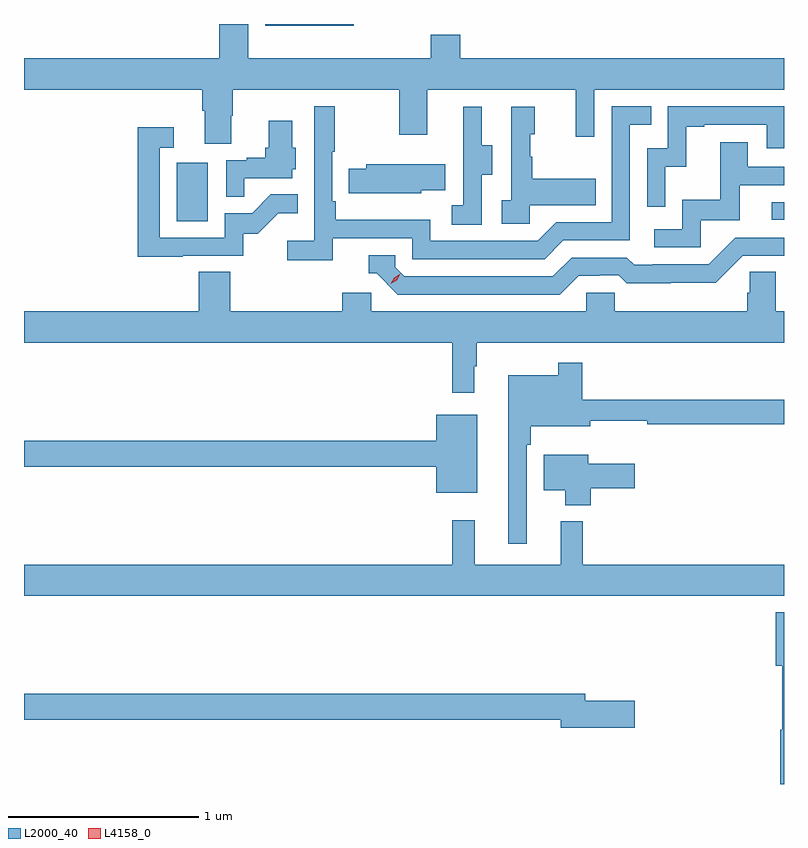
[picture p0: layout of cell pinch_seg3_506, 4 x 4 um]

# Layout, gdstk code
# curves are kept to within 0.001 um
import gdstk
lib = gdstk.Library(unit=1e-6, precision=1e-09)
def R(c, l, rs):  # rectangles x0, y0, x1, y1
    for r in rs: c.add(gdstk.rectangle(r[:2], r[2:], *l))
def P(c, l, *ps):  # polygons
    for p in ps: c.add(gdstk.Polygon(p, *l))
L2000_40 = (2000, 40)
L4158_0 = (4158, 0)

pinch_seg3_506 = lib.new_cell('pinch_seg3_506')
R(pinch_seg3_506, L2000_40, [(972.734,680.244,972.898,680.551), (975.867,680.25,975.931,680.343), (973.202,681.272,973.666,681.281)])
P(pinch_seg3_506, L2000_40, [(973.021,680.799),(973.029,680.799),(973.029,680.936),(973.906,680.936),(973.906,680.697),(974.053,680.697),(974.053,680.936),(974.834,680.936),(974.834,680.688),(974.931,680.688),(974.931,680.936),(975.931,680.936),(975.931,681.1),(974.228,681.1),(974.228,681.224),(974.071,681.224),(974.071,681.1),(973.111,681.1),(973.111,681.281),(972.959,681.281),(972.959,681.1),(971.931,681.1),(971.931,680.936),(972.869,680.936),(972.869,680.824),(972.881,680.824),(972.881,680.65),(973.021,680.65)],
  [(973.556,680.154),(973.974,680.154),(973.974,680.043),(974.671,680.043),(974.77,680.142),(975.12,680.142),(975.12,680.751),(975.233,680.751),(975.233,680.847),(975.024,680.847),(975.024,680.238),(974.733,680.238),(974.634,680.139),(974.07,680.139),(974.07,680.251),(973.571,680.251),(973.571,680.347),(973.554,680.347),(973.554,680.608),(973.567,680.608),(973.567,680.848),(973.458,680.848),(973.458,680.14),(973.317,680.14),(973.317,680.038),(973.556,680.038)],
  [(975.306,680.531),(975.416,680.531),(975.416,680.739),(975.511,680.739),(975.511,680.751),(975.84,680.751),(975.84,680.628),(975.931,680.628),(975.931,680.847),(975.318,680.847),(975.318,680.628),(975.21,680.628),(975.21,680.319),(975.306,680.319)],
  [(974.592,680.327),(974.939,680.327),(974.939,680.467),(974.605,680.467),(974.605,680.582),(974.595,680.582),(974.595,680.7),(974.62,680.7),(974.62,680.845),(974.496,680.845),(974.496,680.354),(974.445,680.354),(974.445,680.229),(974.592,680.229)],
  [(974.34,680.488),(974.395,680.488),(974.395,680.643),(974.341,680.643),(974.341,680.845),(974.243,680.845),(974.243,680.631),(974.244,680.631),(974.244,680.327),(974.181,680.327),(974.181,680.224),(974.34,680.224)],
  [(973.091,680.469),(973.342,680.469),(973.342,680.517),(973.36,680.517),(973.36,680.631),(973.342,680.631),(973.342,680.773),(973.22,680.773),(973.22,680.631),(973.202,680.631),(973.202,680.578),(973.103,680.578),(973.103,680.565),(972.996,680.565),(972.996,680.371),(973.091,680.371)],
  [(972.767,680.061),(973.086,680.061),(973.086,680.178),(973.162,680.178),(973.269,680.285),(973.373,680.285),(973.373,680.384),(973.229,680.384),(973.131,680.286),(972.987,680.286),(972.987,680.157),(972.645,680.157),(972.645,680.631),(972.718,680.631),(972.718,680.737),(972.529,680.737),(972.529,680.056),(972.767,680.056)],
  [(975.492,680.247),(975.697,680.247),(975.697,680.433),(975.931,680.433),(975.931,680.529),(975.739,680.529),(975.739,680.659),(975.595,680.659),(975.595,680.356),(975.396,680.356),(975.396,680.202),(975.249,680.202),(975.249,680.106),(975.492,680.106)],
  [(974.022,680.405),(974.147,680.405),(974.147,680.542),(973.733,680.542),(973.733,680.52),(973.639,680.52),(973.639,680.391),(973.75,680.391),(973.75,680.39),(974.022,680.39)],
  [(974.851,679.956),(974.958,679.956),(974.958,679.959),(975.061,679.959),(975.103,679.917),(975.336,679.917),(975.336,679.919),(975.572,679.919),(975.714,680.061),(975.931,680.06),(975.931,680.157),(975.675,680.157),(975.534,680.016),(975.241,680.016),(975.241,680.013),(975.142,680.013),(975.103,680.052),(974.814,680.052),(974.715,679.953),(973.932,679.953),(973.884,680.001),(973.884,680.064),(973.745,680.064),(973.745,679.968),(973.788,679.968),(973.899,679.857),(974.752,679.857)],
  [(974.302,679.481),(974.314,679.481),(974.314,679.604),(975.931,679.604),(975.931,679.768),(975.888,679.768),(975.888,679.976),(975.751,679.976),(975.751,679.866),(975.737,679.866),(975.737,679.768),(975.039,679.768),(975.039,679.866),(974.889,679.866),(974.889,679.768),(973.758,679.768),(973.758,679.866),(973.607,679.866),(973.607,679.768),(973.016,679.768),(973.016,679.976),(972.851,679.976),(972.851,679.768),(971.931,679.768),(971.931,679.604),(974.185,679.604),(974.185,679.341),(974.302,679.341)],
  [(974.577,679.067),(974.597,679.067),(974.597,679.163),(974.91,679.163),(974.91,679.192),(975.21,679.192),(975.21,679.174),(975.931,679.174),(975.931,679.303),(974.87,679.303),(974.87,679.498),(974.742,679.498),(974.742,679.432),(974.48,679.432),(974.48,678.546),(974.577,678.546)],
  [(974.317,679.225),(974.102,679.225),(974.102,679.088),(971.931,679.088),(971.931,678.952),(974.102,678.952),(974.102,678.815),(974.317,678.815)],
  [(974.915,678.838),(975.145,678.838),(975.145,678.967),(974.902,678.967),(974.902,679.015),(974.666,679.015),(974.666,678.827),(974.78,678.827),(974.78,678.749),(974.915,678.749)],
  [(975.931,678.436),(974.873,678.436),(974.873,678.664),(974.756,678.664),(974.756,678.436),(974.303,678.436),(974.303,678.67),(974.185,678.67),(974.185,678.436),(971.931,678.436),(971.931,678.272),(975.931,678.272)],
  [(975.931,678.184),(975.887,678.184),(975.887,677.904),(975.923,677.904),(975.923,677.566),(975.911,677.566),(975.911,677.281),(975.931,677.281)],
  [(975.145,677.72),(974.884,677.72),(974.884,677.756),(971.931,677.756),(971.931,677.62),(974.756,677.62),(974.756,677.578),(975.145,677.578)])
P(pinch_seg3_506, L4158_0, [(973.862,679.914),(973.862,679.914),(973.879,679.946),(973.91,679.966),(973.91,679.966),(973.91,679.966),(973.893,679.933),(973.862,679.914)])

lib.write_gds('pinch_seg3_506.gds')
